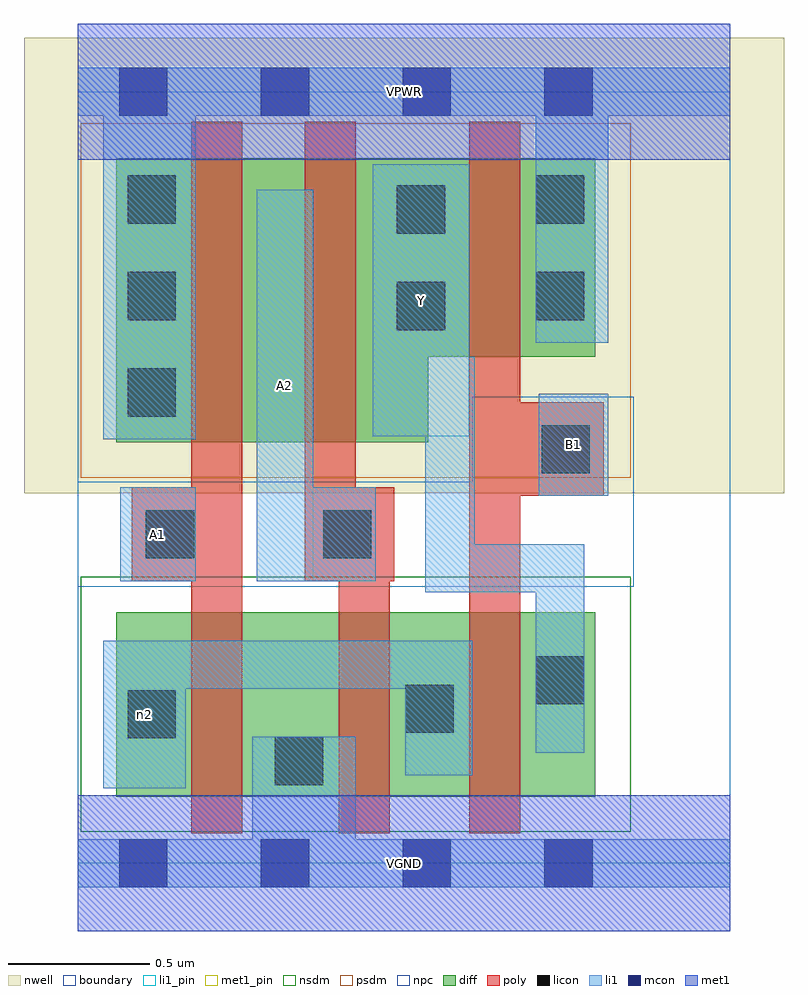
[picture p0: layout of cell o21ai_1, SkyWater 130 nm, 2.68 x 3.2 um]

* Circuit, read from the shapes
.subckt o21ai_1 A1 A2 B1 VGND VPWR Y n2
XM1 VGND A1 n2 VSUBS sky130_fd_pr__nfet_01v8 w=0.65 l=0.18
XM2 n2 A2 VGND VSUBS sky130_fd_pr__nfet_01v8 w=0.65 l=0.18
XM3 Y B1 n2 VSUBS sky130_fd_pr__nfet_01v8 w=0.65 l=0.18
XM4 n1 A1 VPWR n3 sky130_fd_pr__pfet_01v8 w=1 l=0.18
XM5 Y A2 n1 n3 sky130_fd_pr__pfet_01v8 w=1 l=0.18
XM6 VPWR B1 Y n3 sky130_fd_pr__pfet_01v8 w=0.7 l=0.18
.ends

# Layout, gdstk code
import gdstk
lib = gdstk.Library(unit=1e-6, precision=1e-09)
def R(c, l, rs):  # rectangles x0, y0, x1, y1
    for r in rs: c.add(gdstk.rectangle(r[:2], r[2:], *l))
def A(c, l, x, y, w, h, nx, ny, dx, dy):  # array of equal rectangles
    R(c, l, [(x+i*dx, y+j*dy, x+i*dx+w, y+j*dy+h) for i in range(nx) for j in range(ny)])
nwell = (64, 20)
diff = (65, 20)
poly = (66, 20)
licon = (66, 44)
li1_pin = (67, 16)
li1 = (67, 20)
mcon = (67, 44)
met1_pin = (68, 16)
met1 = (68, 20)
nsdm = (93, 44)
psdm = (94, 20)
npc = (95, 20)
boundary = (235, 4)

o21ai_1 = lib.new_cell('o21ai_1')
R(o21ai_1, nwell, [(-0.19,1.305,2.49,2.91), (0,1.305,2.3,2.91)])
R(o21ai_1, diff, [(0.135,0.235,1.825,0.885), (0.135,1.485,1.235,2.485), (0.135,1.785,1.825,2.485)])
R(o21ai_1, poly, [(0.4,0.105,0.58,2.615), (0.92,0.105,1.1,1.325), (1.38,0.105,1.56,2.615), (0.19,0.995,0.58,1.325), (0.8,0.995,0.98,2.615), (0.8,0.995,1.115,1.325), (1.38,1.295,1.855,1.625)])
A(o21ai_1, licon, 0.175, 1.575, 0.17, 0.17, 1, 3, 0, 0.34)
R(o21ai_1, licon, [(0.695,0.275,0.865,0.445), (0.175,0.44,0.345,0.61), (1.155,0.46,1.325,0.63), (1.615,0.56,1.785,0.73), (0.24,1.075,0.41,1.245), (0.865,1.075,1.035,1.245), (1.635,1.375,1.805,1.545), (1.125,1.88,1.295,2.05), (1.615,1.915,1.785,2.085), (1.125,2.22,1.295,2.39), (1.615,2.255,1.785,2.425)])
R(o21ai_1, li1_pin, [(0.15,0.995,0.415,1.325), (0.63,0.995,0.83,2.375), (1.625,1.295,1.87,1.655), (1.04,1.505,1.38,2.465)])
R(o21ai_1, li1, [(0,-0.085,2.3,0.085), (0.615,-0.085,0.98,0.445), (0.09,0.265,0.38,0.785), (1.155,0.31,1.39,0.785), (1.615,0.39,1.785,1.125), (0.09,0.615,1.39,0.785), (1.225,0.955,1.4,1.785), (1.225,0.955,1.785,1.125), (0.15,0.995,0.415,1.325), (0.63,0.995,0.83,2.375), (0.63,0.995,1.05,1.325), (1.625,1.295,1.87,1.655), (0.09,1.495,0.415,2.805), (1.04,1.505,1.38,2.465), (1.615,1.835,1.87,2.805), (0,2.635,2.3,2.805)])
A(o21ai_1, mcon, 0.145, -0.085, 0.17, 0.17, 4, 2, 0.5, 2.72)
R(o21ai_1, met1_pin, [(0,-0.24,2.3,0.24), (0,2.48,2.3,2.96)])
R(o21ai_1, met1, [(0,-0.24,2.3,0.24), (0,2.48,2.3,2.96)])
R(o21ai_1, nsdm, [(0.01,0.11,1.95,1.01)])
R(o21ai_1, psdm, [(0.01,1.36,1.95,2.61)])
R(o21ai_1, npc, [(0,0.975,1.96,1.345), (1.39,0.975,1.96,1.645)])
R(o21ai_1, boundary, [(0,0,2.3,2.72)])
o21ai_1.add(gdstk.Label('A1', (0.282,1.16), layer=67, texttype=5))
o21ai_1.add(gdstk.Label('A2', (0.73,1.685), layer=67, texttype=5))
o21ai_1.add(gdstk.Label('B1', (1.747,1.475), layer=67, texttype=5))
o21ai_1.add(gdstk.Label('Y', (1.21,1.985), layer=67, texttype=5))
o21ai_1.add(gdstk.Label('n2', (0.235,0.525), layer=67, texttype=5))
o21ai_1.add(gdstk.Label('VPWR', (1.15,2.72), layer=68, texttype=5))
o21ai_1.add(gdstk.Label('VGND', (1.15,0), layer=68, texttype=5))
o21ai_1.add(gdstk.Label('A1', (0.282,1.16), layer=67, texttype=16))
o21ai_1.add(gdstk.Label('A2', (0.73,1.685), layer=67, texttype=16))
o21ai_1.add(gdstk.Label('B1', (1.747,1.475), layer=67, texttype=16))
o21ai_1.add(gdstk.Label('Y', (1.21,1.985), layer=67, texttype=16))
o21ai_1.add(gdstk.Label('VPWR', (1.15,2.72), layer=68, texttype=16))
o21ai_1.add(gdstk.Label('VGND', (1.15,0), layer=68, texttype=16))

lib.write_gds('o21ai_1.gds')
